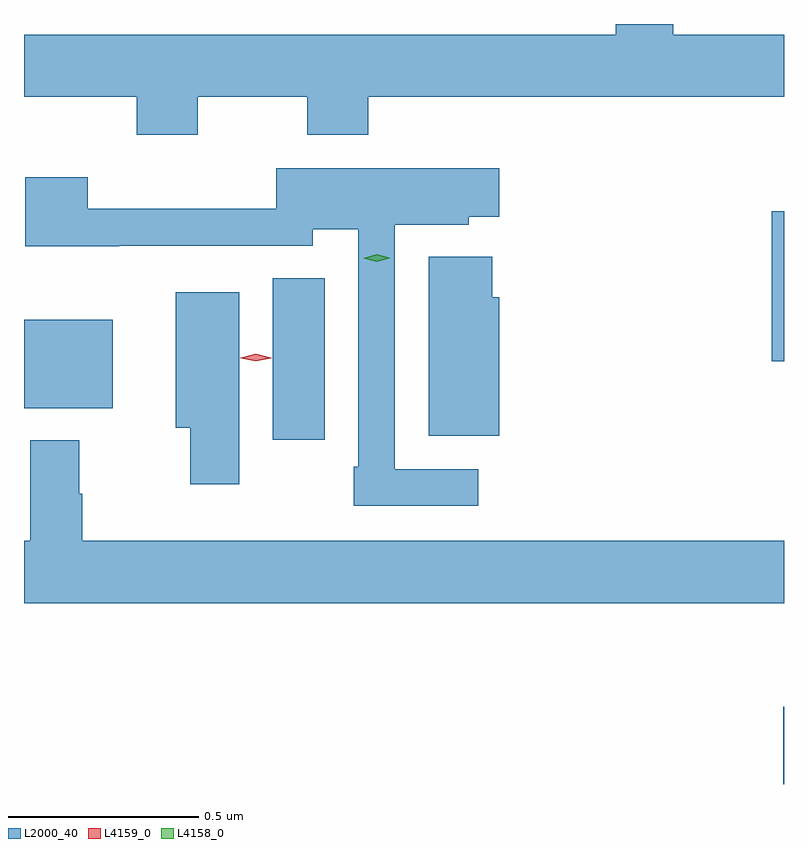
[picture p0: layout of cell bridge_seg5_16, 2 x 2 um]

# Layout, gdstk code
import gdstk
lib = gdstk.Library(unit=1e-6, precision=1e-09)
def R(c, l, rs):  # rectangles x0, y0, x1, y1
    for r in rs: c.add(gdstk.rectangle(r[:2], r[2:], *l))
def P(c, l, *ps):  # polygons
    for p in ps: c.add(gdstk.Polygon(p, *l))
L2000_40 = (2000, 40)
L4158_0 = (4158, 0)
L4159_0 = (4159, 0)

bridge_seg5_16 = lib.new_cell('bridge_seg5_16')
R(bridge_seg5_16, L2000_40, [(891.746,841.632,891.748,841.835), (890.402,842.538,890.539,842.963), (889.748,842.621,889.981,842.854), (891.716,842.745,891.748,843.139)])
P(bridge_seg5_16, L2000_40, [(890.205,843.44),(890.494,843.44),(890.494,843.341),(890.654,843.341),(890.654,843.44),(891.748,843.44),(891.748,843.604),(891.457,843.604),(891.457,843.632),(891.305,843.632),(891.305,843.604),(889.748,843.604),(889.748,843.44),(890.045,843.44),(890.045,843.341),(890.205,843.341)],
  [(890.944,842.46),(890.724,842.46),(890.724,843.104),(890.919,843.104),(890.919,843.125),(890.998,843.125),(890.998,843.253),(890.412,843.253),(890.412,843.146),(889.916,843.146),(889.916,843.229),(889.751,843.229),(889.751,843.047),(889.999,843.047),(889.999,843.048),(890.508,843.048),(890.508,843.092),(890.628,843.092),(890.628,842.467),(890.616,842.467),(890.616,842.364),(890.944,842.364)],
  [(890.998,842.913),(890.98,842.913),(890.98,843.019),(890.813,843.019),(890.813,842.549),(890.998,842.549)],
  [(890.314,842.926),(890.147,842.926),(890.147,842.57),(890.185,842.57),(890.185,842.421),(890.314,842.421)],
  [(891.748,842.272),(889.901,842.272),(889.901,842.396),(889.894,842.396),(889.894,842.536),(889.765,842.536),(889.765,842.272),(889.748,842.272),(889.748,842.108),(891.748,842.108)])
P(bridge_seg5_16, L4158_0, [(890.676,843.006),(890.641,843.015),(890.641,843.015),(890.641,843.015),(890.676,843.026),(890.711,843.017),(890.711,843.016),(890.711,843.016)])
P(bridge_seg5_16, L4159_0, [(890.358,842.744),(890.318,842.753),(890.317,842.754),(890.318,842.754),(890.358,842.764),(890.399,842.754),(890.399,842.754),(890.399,842.753)])

lib.write_gds('bridge_seg5_16.gds')
